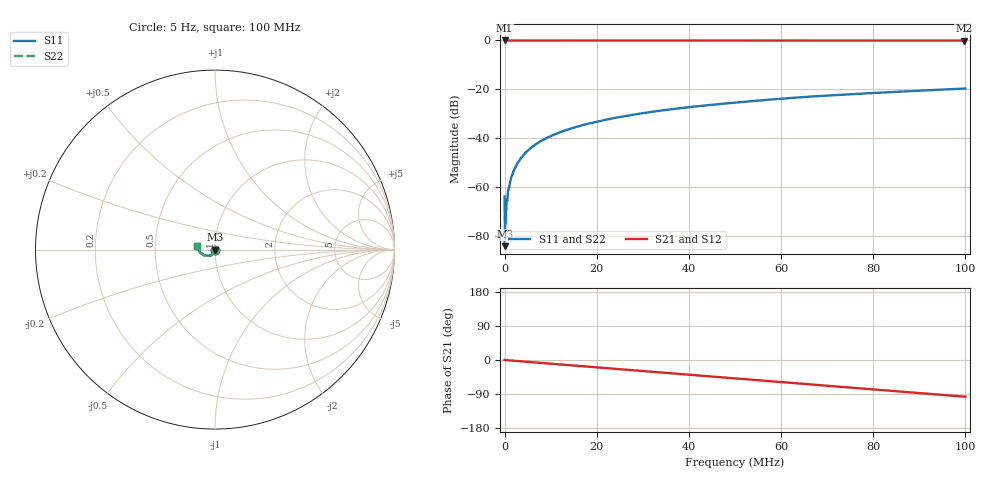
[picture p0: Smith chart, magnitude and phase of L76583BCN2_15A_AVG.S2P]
!Agilent Technologies,E5061B,MY49102235,A.02.00
!Date: Mon Jul 10 17:01:10 2023
!Data & Calibration Information:
!Freq	S11:SOLT2(ON)	S21:SOLT2(ON)	S12:SOLT2(ON)	S22:SOLT2(ON)
# Hz S RI R 50
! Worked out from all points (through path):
!   1600 points, 5 Hz to 100 MHz, reference 50 ohm
!   highest |S21| = 0.02 dB at 5 Hz (marker M1); lowest = -0.1 dB at 99.62 MHz (marker M2)
!   group delay of S21, straight-line fit = 2.69 ns
!   lowest |S11| = -84.3 dB at 62.54 kHz (marker M3), VSWR 1.00, Z = 50 - j0.00175 ohm
!   |S11| at or under -10 dB: start of sweep to end of sweep
!   |S22| runs from -78.1 to -19.6 dB; largest |S21 - S12| = 0.0027
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5  -0.000472 0.000428  1.002 0.00229  1.001 -2.63e-05  -0.000173 -5.28e-05
62544.08  -5.87e-05 -1.75e-05  1 -0.000868  1 -0.000607  1.76e-05 -0.000123
250161.3  3.56e-05 -0.000183  0.9998 -0.0045  0.9998 -0.00427  2.71e-05 -0.000207
562856.8  0.000111 -0.000505  0.9998 -0.00979  0.9998 -0.00926  5.08e-05 -0.000571
687934.9  1.36e-06 -0.000734  1 -0.0116  1 -0.0117  -1.52e-05 -0.000668
938091.3  -0.000174 -0.000986  0.9995 -0.0158  0.9995 -0.0153  -0.000143 -0.00101
1063169  -6.47e-05 -0.0011  1 -0.018  1 -0.0181  -4.22e-05 -0.00116
1313326  -7.35e-05 -0.00138  0.9999 -0.0217  0.9991 -0.022  -8.97e-05 -0.00143
1813638  -0.000115 -0.00193  0.9999 -0.0306  0.999 -0.0306  -9.8e-05 -0.00195
2376490  -7.52e-05 -0.0026  0.9998 -0.0406  0.9992 -0.0402  -7.43e-05 -0.0026
3877428  -0.000165 -0.00422  0.9978 -0.0658  0.9976 -0.0654  -0.000294 -0.00427
6003757  -0.000582 -0.00666  0.9947 -0.1018  0.9947 -0.1014  -0.000688 -0.00662
8755477  -0.00135 -0.0095  0.9887 -0.1481  0.9889 -0.1476  -0.00138 -0.00945
1.250782e7  -0.0028 -0.0134  0.9773 -0.2104  0.9773 -0.2102  -0.00276 -0.0133
1.669794e7  -0.00507 -0.0175  0.9599 -0.279  0.9599 -0.2789  -0.00491 -0.0175
2.445279e7  -0.0109 -0.0241  0.9151 -0.4023  0.9148 -0.4024  -0.0107 -0.0245
3.333334e7  -0.0199 -0.03  0.844 -0.5347  0.844 -0.5345  -0.0195 -0.0308
5.003127e7  -0.0411 -0.0341  0.6608 -0.7483  0.6608 -0.7484  -0.0412 -0.035
6.672921e7  -0.0658 -0.0275  0.4255 -0.9019  0.4254 -0.9014  -0.0658 -0.0287
8.33646e7  -0.0866 -0.00898  0.1575 -0.9831  0.1574 -0.9827  -0.087 -0.0105
9.962477e7  -0.1015 0.0197  -0.1144 -0.9874  -0.1145 -0.9871  -0.1025 0.0176
1e8  -0.1018 0.0204  -0.1206 -0.9868  -0.1208 -0.9864  -0.1028 0.0183
